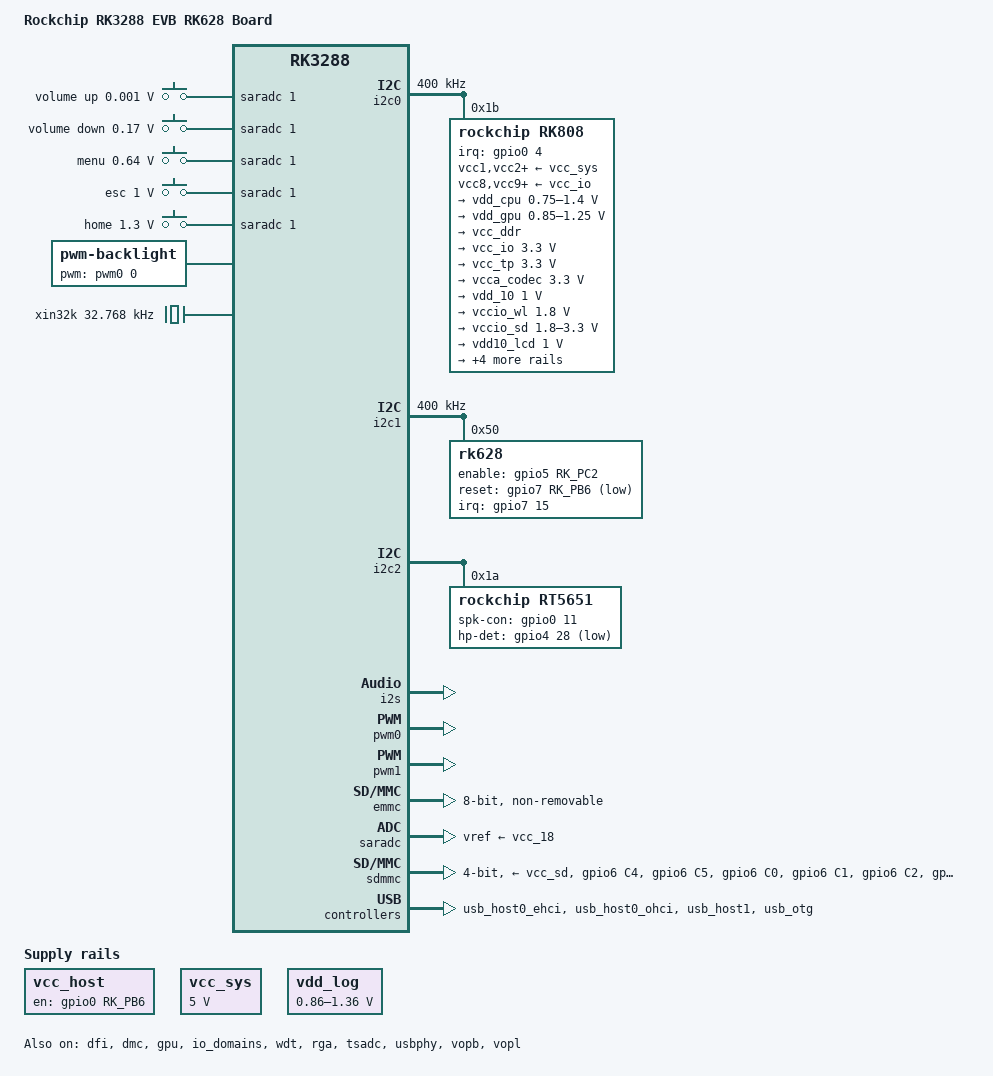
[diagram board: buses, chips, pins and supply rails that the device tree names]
// SPDX-License-Identifier: (GPL-2.0+ OR MIT)
// Copyright (c) 2020 Fuzhou Rockchip Electronics Co., Ltd

#include <dt-bindings/pwm/pwm.h>
#include <dt-bindings/input/input.h>
#include "rk3288.dtsi"
#include "rk3288-android.dtsi"

/ {
	model = "Rockchip RK3288 EVB RK628 Board";
	compatible = "rockchip,rk3288-evb-rk628", "rockchip,rk3288";

	chosen: chosen {
		bootargs = "rootwait earlycon=uart8250,mmio32,0xff690000 vmalloc=496M console=ttyFIQ0 androidboot.baseband=N/A androidboot.veritymode=enforcing androidboot.hardware=rk30board androidboot.console=ttyFIQ0 init=/init kpti=0";
	};

	adc-keys {
		compatible = "adc-keys";
		io-channels = <&saradc 1>;
		io-channel-names = "buttons";
		keyup-threshold-microvolt = <1800000>;
		poll-interval = <100>;

		vol-up-key {
			label = "volume up";
			linux,code = <KEY_VOLUMEUP>;
			press-threshold-microvolt = <1000>;
		};

		vol-down-key {
			label = "volume down";
			linux,code = <KEY_VOLUMEDOWN>;
			press-threshold-microvolt = <170000>;
		};

		menu {
			label = "menu";
			linux,code = <KEY_MENU>;
			press-threshold-microvolt = <640000>;
		};

		esc {
			label = "esc";
			linux,code = <KEY_ESC>;
			press-threshold-microvolt = <1000000>;
		};

		home  {
			label = "home";
			linux,code = <KEY_HOME>;
			press-threshold-microvolt = <1300000>;
		};
	};

	backlight: backlight {
		compatible = "pwm-backlight";
		pwms = <&pwm0 0 1000000 0>;
		brightness-levels = <
			0   1   2   3   4   5   6   7
			8   9  10  11  12  13  14  15
			16  17  18  19  20  21  22  23
			24  25  26  27  28  29  30  31
			32  33  34  35  36  37  38  39
			40  41  42  43  44  45  46  47
			48  49  50  51  52  53  54  55
			56  57  58  59  60  61  62  63
			64  65  66  67  68  69  70  71
			72  73  74  75  76  77  78  79
			80  81  82  83  84  85  86  87
			88  89  90  91  92  93  94  95
			96  97  98  99 100 101 102 103
			104 105 106 107 108 109 110 111
			112 113 114 115 116 117 118 119
			120 121 122 123 124 125 126 127
			128 129 130 131 132 133 134 135
			136 137 138 139 140 141 142 143
			144 145 146 147 148 149 150 151
			152 153 154 155 156 157 158 159
			160 161 162 163 164 165 166 167
			168 169 170 171 172 173 174 175
			176 177 178 179 180 181 182 183
			184 185 186 187 188 189 190 191
			192 193 194 195 196 197 198 199
			200 201 202 203 204 205 206 207
			208 209 210 211 212 213 214 215
			216 217 218 219 220 221 222 223
			224 225 226 227 228 229 230 231
			232 233 234 235 236 237 238 239
			240 241 242 243 244 245 246 247
			248 249 250 251 252 253 254 255>;
		default-brightness-level = <128>;
	};

	i2s_mclkin: i2s-mclkin {
		compatible = "fixed-factor-clock";
		#clock-cells = <0>;
		clocks = <&cru SCLK_I2S0_OUT>;
		clock-mult = <1>;
		clock-div = <1>;
		clock-output-names = "i2s_mclkin";
	};

	sound: sound {
		compatible = "simple-audio-card";
		simple-audio-card,format = "i2s";
		simple-audio-card,name = "realtek,rt5651-codec";
		simple-audio-card,mclk-fs = <256>;
		simple-audio-card,widgets =
			"Microphone", "Microphone Jack",
			"Headphone", "Headphone Jack";
		simple-audio-card,routing =
			"MIC1", "Microphone Jack",
			"MIC2", "Microphone Jack",
			"Microphone Jack", "micbias1",
			"Headphone Jack", "HPOL",
			"Headphone Jack", "HPOR";
		status = "disabled";

		simple-audio-card,dai-link@0 {
			format = "i2s";
			cpu {
				sound-dai = <&i2s>;
			};

			codec {
				sound-dai = <&rt5651>;
			};
		};

		simple-audio-card,dai-link@1 {
			format = "i2s";
			cpu {
				sound-dai = <&i2s>;
			};

			codec {
				sound-dai = <&rk628_hdmi>;
			};
		};
	};

	vcc_host: vcc-host-regulator {
		compatible = "regulator-fixed";
		enable-active-high;
		gpio = <&gpio0 RK_PB6 GPIO_ACTIVE_HIGH>;
		pinctrl-names = "default";
		pinctrl-0 = <&host_vbus_drv>;
		regulator-name = "vcc_host";
		regulator-always-on;
		regulator-boot-on;
	};

	vcc_sys: vsys-regulator {
		compatible = "regulator-fixed";
		regulator-name = "vcc_sys";
		regulator-min-microvolt = <5000000>;
		regulator-max-microvolt = <5000000>;
		regulator-always-on;
		regulator-boot-on;
	};

	vdd_log: vdd-logic {
		compatible = "pwm-regulator";
		rockchip,pwm_id = <1>;
		rockchip,pwm_voltage = <1100000>;
		pwms = <&pwm1 0 25000 1>;
		regulator-name = "vcc_log";
		regulator-min-microvolt = <860000>;
		regulator-max-microvolt = <1360000>;
		regulator-always-on;
		regulator-boot-on;
	};

	xin32k: xin32k {
		compatible = "fixed-clock";
		clock-frequency = <32768>;
		clock-output-names = "xin32k";
		#clock-cells = <0>;
	};
};

&backlight {
	/delete-property/ enable-gpios;
};

&cpu0 {
	cpu-supply = <&vdd_cpu>;
};

&dfi {
	status = "okay";
};

&dmc {
	center-supply = <&vdd_log>;
	status = "okay";
};

&gpu {
	mali-supply = <&vdd_gpu>;
	status = "okay";
};

&i2c0 {
	clock-frequency = <400000>;
	status = "okay";

	rk808: pmic@1b {
		compatible = "rockchip,rk808";
		reg = <0x1b>;
		interrupt-parent = <&gpio0>;
		interrupts = <4 IRQ_TYPE_LEVEL_LOW>;
		pinctrl-names = "default";
		pinctrl-0 = <&pmic_int &global_pwroff>;
		rockchip,system-power-controller;
		wakeup-source;
		#clock-cells = <1>;
		clock-output-names = "rk808-clkout1", "rk808-clkout2";
		vcc1-supply = <&vcc_sys>;
		vcc2-supply = <&vcc_sys>;
		vcc3-supply = <&vcc_sys>;
		vcc4-supply = <&vcc_sys>;
		vcc6-supply = <&vcc_sys>;
		vcc8-supply = <&vcc_io>;
		vcc9-supply = <&vcc_io>;
		vcc12-supply = <&vcc_io>;
		vddio-supply = <&vcc_io>;

		regulators {
			vdd_cpu: DCDC_REG1 {
				regulator-always-on;
				regulator-boot-on;
				regulator-min-microvolt = <750000>;
				regulator-max-microvolt = <1400000>;
				regulator-name = "vdd_arm";

				regulator-state-mem {
					regulator-off-in-suspend;
				};
			};

			vdd_gpu: DCDC_REG2 {
				regulator-always-on;
				regulator-boot-on;
				regulator-min-microvolt = <850000>;
				regulator-max-microvolt = <1250000>;
				regulator-name = "vdd_gpu";
				regulator-ramp-delay = <6000>;

				regulator-state-mem {
					regulator-off-in-suspend;
				};
			};

			vcc_ddr: DCDC_REG3 {
				regulator-always-on;
				regulator-boot-on;
				regulator-name = "vcc_ddr";

				regulator-state-mem {
					regulator-on-in-suspend;
				};
			};

			vcc_io: DCDC_REG4 {
				regulator-always-on;
				regulator-boot-on;
				regulator-min-microvolt = <3300000>;
				regulator-max-microvolt = <3300000>;
				regulator-name = "vcc_io";

				regulator-state-mem {
					regulator-on-in-suspend;
					regulator-suspend-microvolt = <3300000>;
				};
			};

			vcc_tp: LDO_REG1 {
				regulator-always-on;
				regulator-boot-on;
				regulator-min-microvolt = <3300000>;
				regulator-max-microvolt = <3300000>;
				regulator-name = "vcc_tp";

				regulator-state-mem {
					regulator-off-in-suspend;
				};
			};

			vcca_codec: LDO_REG2 {
				regulator-always-on;
				regulator-boot-on;
				regulator-min-microvolt = <3300000>;
				regulator-max-microvolt = <3300000>;
				regulator-name = "vcca_codec";

				regulator-state-mem {
					regulator-on-in-suspend;
					regulator-suspend-microvolt = <3300000>;
				};
			};

			vdd_10: LDO_REG3 {
				regulator-always-on;
				regulator-boot-on;
				regulator-min-microvolt = <1000000>;
				regulator-max-microvolt = <1000000>;
				regulator-name = "vdd_10";

				regulator-state-mem {
					regulator-on-in-suspend;
					regulator-suspend-microvolt = <1000000>;
				};
			};

			vccio_wl: LDO_REG4 {
				regulator-always-on;
				regulator-boot-on;
				regulator-min-microvolt = <1800000>;
				regulator-max-microvolt = <1800000>;
				regulator-name = "vccio_wl";

				regulator-state-mem {
					regulator-on-in-suspend;
				};
			};

			vccio_sd: LDO_REG5 {
				regulator-always-on;
				regulator-boot-on;
				regulator-min-microvolt = <1800000>;
				regulator-max-microvolt = <3300000>;
				regulator-name = "vccio_sd";

				regulator-state-mem {
					regulator-off-in-suspend;
				};
			};

			vdd10_lcd: LDO_REG6 {
				regulator-always-on;
				regulator-boot-on;
				regulator-min-microvolt = <1000000>;
				regulator-max-microvolt = <1000000>;
				regulator-name = "vdd10_lcd";

				regulator-state-mem {
					regulator-off-in-suspend;
				};
			};

			vcc_18: LDO_REG7 {
				regulator-always-on;
				regulator-boot-on;
				regulator-min-microvolt = <1800000>;
				regulator-max-microvolt = <1800000>;
				regulator-name = "vcc_18";

				regulator-state-mem {
					regulator-on-in-suspend;
					regulator-suspend-microvolt = <1800000>;
				};
			};

			vcc18_lcd: LDO_REG8 {
				regulator-always-on;
				regulator-boot-on;
				regulator-min-microvolt = <1800000>;
				regulator-max-microvolt = <1800000>;
				regulator-name = "vcc18_lcd";

				regulator-state-mem {
					regulator-off-in-suspend;
				};
			};

			vcc_sd: SWITCH_REG1 {
				regulator-always-on;
				regulator-boot-on;
				regulator-name = "vcc_sd";

				regulator-state-mem {
					regulator-off-in-suspend;
				};
			};

			vcc_lcd: SWITCH_REG2 {
				regulator-always-on;
				regulator-boot-on;
				regulator-name = "vcc_lcd";

				regulator-state-mem {
					regulator-off-in-suspend;
				};
			};
		};
	};
};

&i2c1 {
	clock-frequency = <400000>;
	status = "okay";

	rk628: rk628@50 {
		reg = <0x50>;
		interrupt-parent = <&gpio7>;
		interrupts = <15 IRQ_TYPE_LEVEL_HIGH>;
		enable-gpios = <&gpio5 RK_PC2 GPIO_ACTIVE_HIGH>;
		reset-gpios = <&gpio7 RK_PB6 GPIO_ACTIVE_LOW>;
		status = "okay";
	};
};

&i2c2 {
	status = "okay";

	rt5651: rt5651@1a {
		compatible = "rockchip,rt5651";
		reg = <0x1a>;
		clocks = <&cru SCLK_I2S0_OUT>;
		clock-names = "mclk";
		pinctrl-names = "default";
		pinctrl-0 = <&i2s0_mclk>;
		spk-con-gpio = <&gpio0 11 GPIO_ACTIVE_HIGH>;
		hp-det-gpio = <&gpio4 28 GPIO_ACTIVE_LOW>;
		#sound-dai-cells = <0>;
	};
};

&i2s {
	#sound-dai-cells = <0>;
	status = "okay";
};

#include "rk628.dtsi"

&io_domains {
	audio-supply = <&vcc_io>;
	bb-supply = <&vcc_io>;
	dvp-supply = <&vcc_io>;
	flash0-supply = <&vcc_18>;
	gpio30-supply = <&vcc_io>;
	gpio1830 = <&vcc_io>;
	lcdc-supply = <&vcc_lcd>;
	sdcard-supply = <&vccio_sd>;
	wifi-supply = <&vccio_wl>;
	status = "okay";
};

&rockchip_suspend {
	rockchip,pwm-regulator-config = <
	(0
	| PWM1_REGULATOR_EN
	)
	>;
	status = "okay";
};

&pwm0 {
	status = "okay";
};

&pwm1 {
	pinctrl-names = "active";
	pinctrl-0 = <&pwm1_pin_pull_down>;
	status = "okay";
};

&emmc {
	bus-width = <8>;
	cap-mmc-highspeed;
	disable-wp;
	non-removable;
	num-slots = <1>;
	pinctrl-names = "default";
	pinctrl-0 = <&emmc_clk &emmc_cmd &emmc_pwr &emmc_bus8>;
	max-frequency = <100000000>;
	mmc-hs200-1_8v;
	mmc-ddr-1_8v;
	status = "okay";
};

&saradc {
	vref-supply = <&vcc_18>;
	status = "okay";
};

&sdmmc {
	supports-sd;
	bus-width = <4>;
	cap-mmc-highspeed;
	sd-uhs-sdr12;
	sd-uhs-sdr25;
	sd-uhs-sdr50;
	sd-uhs-sdr104;
	cap-sd-highspeed;
	card-detect-delay = <200>;
	disable-wp;			/* wp not hooked up */
	num-slots = <1>;
	pinctrl-names = "default";
	pinctrl-0 = <&sdmmc_clk &sdmmc_cmd &sdmmc_cd &sdmmc_bus4>;
	vmmc-supply = <&vcc_sd>;
	vqmmc-supply = <&vccio_sd>;
	supports-sd;
	status = "okay";
};

&wdt {
	status = "okay";
};

&pwm0 {
	status = "okay";
};

&backlight {
	status = "okay";
};

&rga {
	status = "okay";
};

&tsadc {
	rockchip,hw-tshut-polarity = <0>;
	status = "okay";
};

&usbphy {
	status = "okay";
};

&usb_host0_ehci {
	rockchip-relinquish-port;
	status = "okay";
};

&usb_host0_ohci {
	status = "okay";
};

&usb_host1 {
	status = "okay";
};

&usb_otg {
	status = "okay";
};

&vopb {
	status = "okay";
};

&vopb_mmu {
	status = "okay";
};

&vopl {
	status = "okay";
};

&vopl_mmu {
	status = "okay";
};

&pinctrl {
	pcfg_pull_none_drv_8ma: pcfg-pull-none-drv-8ma {
		drive-strength = <8>;
	};

	pcfg_pull_up_drv_8ma: pcfg-pull-up-drv-8ma {
		bias-pull-up;
		drive-strength = <8>;
	};

	pmic {
		pmic_int: pmic-int {
			rockchip,pins = <0 RK_PA4 RK_FUNC_GPIO &pcfg_pull_up>;
		};
	};

	sdmmc {
		/*
		 * Default drive strength isn't enough to achieve even
		 * high-speed mode on EVB board so bump up to 8ma.
		 */
		sdmmc_bus4: sdmmc-bus4 {
			rockchip,pins = <6 RK_PC0 1 &pcfg_pull_up_drv_8ma>,
					<6 RK_PC1 1 &pcfg_pull_up_drv_8ma>,
					<6 RK_PC2 1 &pcfg_pull_up_drv_8ma>,
					<6 RK_PC3 1 &pcfg_pull_up_drv_8ma>;
		};

		sdmmc_clk: sdmmc-clk {
			rockchip,pins = <6 RK_PC4 1 &pcfg_pull_none_drv_8ma>;
		};

		sdmmc_cmd: sdmmc-cmd {
			rockchip,pins = <6 RK_PC5 1 &pcfg_pull_up_drv_8ma>;
		};

		sdmmc_pwr: sdmmc-pwr {
			rockchip,pins = <7 RK_PB3 RK_FUNC_GPIO &pcfg_pull_none>;
		};
	};

	usb {
		host_vbus_drv: host-vbus-drv {
			rockchip,pins = <0 RK_PB6 RK_FUNC_GPIO &pcfg_pull_none>;
		};
	};
};
